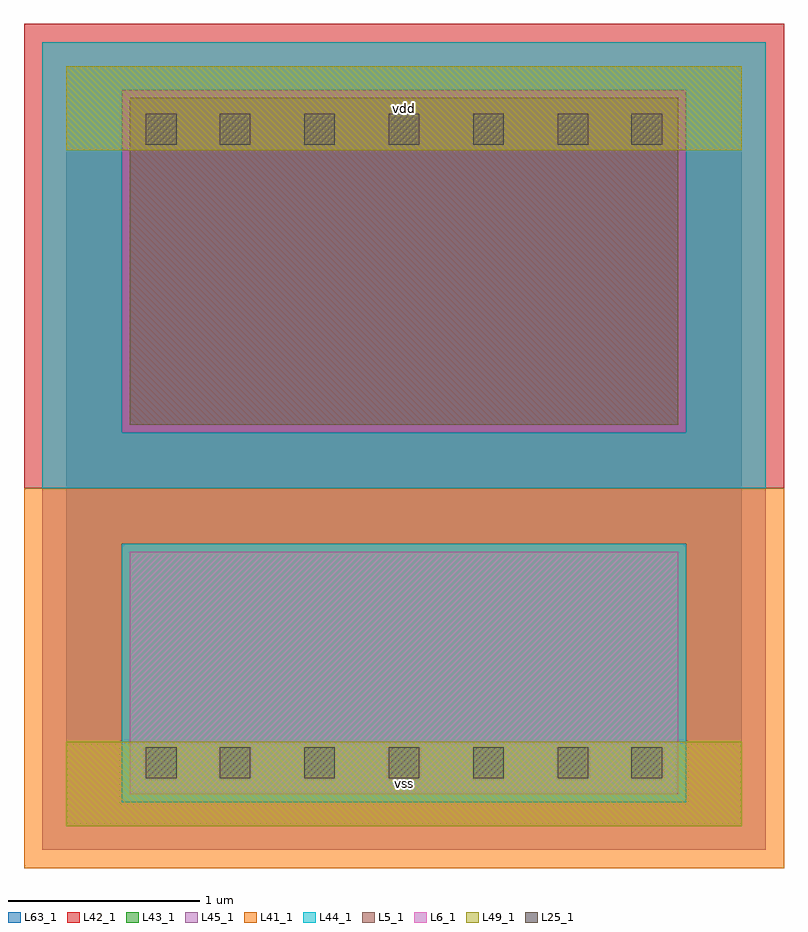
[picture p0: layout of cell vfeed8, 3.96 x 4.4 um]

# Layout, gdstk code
import gdstk
lib = gdstk.Library(unit=1e-6, precision=1e-09)
def R(c, l, rs):  # rectangles x0, y0, x1, y1
    for r in rs: c.add(gdstk.rectangle(r[:2], r[2:], *l))
def A(c, l, x, y, w, h, nx, ny, dx, dy):  # array of equal rectangles
    R(c, l, [(x+i*dx, y+j*dy, x+i*dx+w, y+j*dy+h) for i in range(nx) for j in range(ny)])
L5_1 = (5, 1)
L6_1 = (6, 1)
L25_1 = (25, 1)
L41_1 = (41, 1)
L42_1 = (42, 1)
L43_1 = (43, 1)
L44_1 = (44, 1)
L45_1 = (45, 1)
L49_1 = (49, 1)
L63_1 = (63, 1)

vfeed8 = lib.new_cell('vfeed8')
R(vfeed8, L5_1, [(0.33,2.09,3.19,3.795)])
R(vfeed8, L6_1, [(0.33,0.165,3.19,1.43)])
A(vfeed8, L25_1, 0.8, 0.25, 0.16, 0.16, 5, 2, 0.44, 3.3)
R(vfeed8, L25_1, [(0.415,0.25,0.575,0.41), (2.945,0.25,3.105,0.41), (0.415,3.55,0.575,3.71), (2.945,3.55,3.105,3.71)])
R(vfeed8, L41_1, [(-0.22,-0.22,3.74,1.76)])
R(vfeed8, L42_1, [(-0.22,1.76,3.74,4.18)])
R(vfeed8, L43_1, [(0.33,0.165,3.19,1.43), (0.33,2.09,3.19,3.795)])
R(vfeed8, L44_1, [(0.29,0.125,3.23,1.47), (-0.125,1.76,3.645,2.05), (-0.125,2.05,0.29,3.835), (3.23,2.05,3.645,3.835), (-0.125,3.835,3.645,4.085)])
R(vfeed8, L45_1, [(-0.125,-0.125,3.645,0.125), (-0.125,0.125,0.29,1.47), (3.23,0.125,3.645,1.47), (-0.125,1.47,3.645,1.76), (0.29,2.05,3.23,3.835)])
R(vfeed8, L49_1, [(0,0,3.52,0.44), (0,3.52,3.52,3.96)])
R(vfeed8, L63_1, [(0,0,3.52,3.96)])
vfeed8.add(gdstk.Label('vss', (1.76,0.22), layer=49, texttype=1))
vfeed8.add(gdstk.Label('vdd', (1.76,3.74), layer=49, texttype=1))

lib.write_gds('vfeed8.gds')
